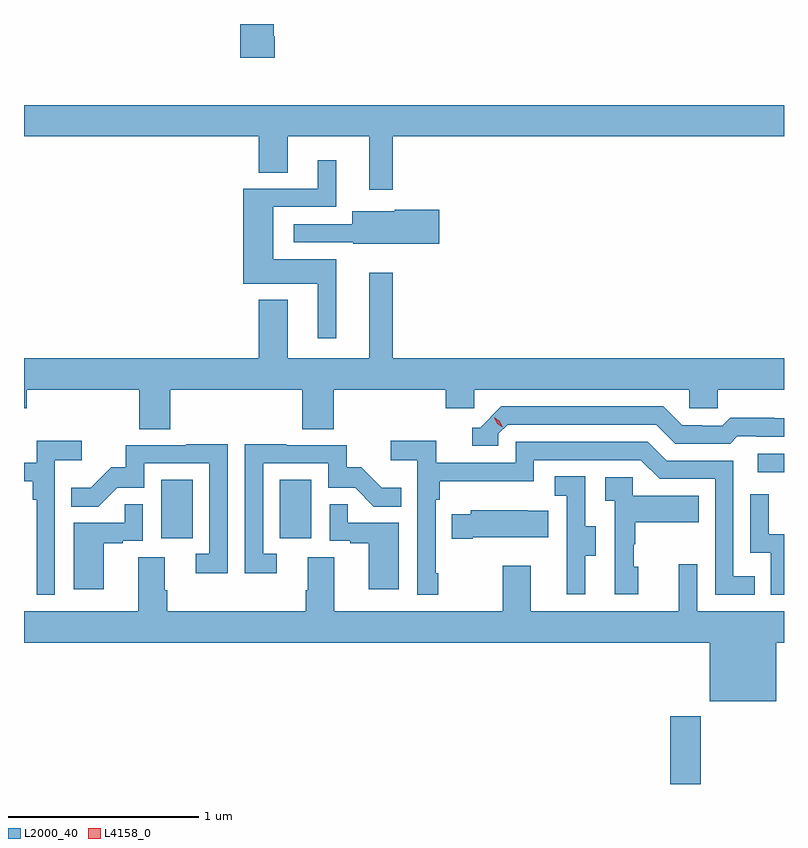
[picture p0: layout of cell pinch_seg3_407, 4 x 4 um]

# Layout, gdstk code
import gdstk
lib = gdstk.Library(unit=1e-6, precision=1e-09)
def R(c, l, rs):  # rectangles x0, y0, x1, y1
    for r in rs: c.add(gdstk.rectangle(r[:2], r[2:], *l))
def P(c, l, *ps):  # polygons
    for p in ps: c.add(gdstk.Polygon(p, *l))
L2000_40 = (2000, 40)
L4158_0 = (4158, 0)

pinch_seg3_407 = lib.new_cell('pinch_seg3_407')
R(pinch_seg3_407, L2000_40, [(929.723,696.176,929.883,696.532), (927.044,697.47,927.208,697.777), (927.668,697.47,927.832,697.777), (930.183,697.818,930.321,697.914)])
P(pinch_seg3_407, L2000_40, [(927.641,700.111),(927.636,700.111),(927.636,700.176),(927.458,700.176),(927.458,699.999),(927.641,699.999)],
  [(928.261,699.584),(930.321,699.584),(930.321,699.748),(926.321,699.748),(926.321,699.584),(927.557,699.584),(927.557,699.394),(927.709,699.394),(927.709,699.584),(928.139,699.584),(928.139,699.303),(928.261,699.303)],
  [(927.964,698.938),(927.634,698.938),(927.634,699.213),(927.964,699.213),(927.964,699.46),(927.866,699.46),(927.866,699.309),(927.476,699.309),(927.476,698.81),(927.866,698.81),(927.866,698.523),(927.964,698.523)],
  [(928.507,699.198),(928.272,699.198),(928.272,699.19),(928.049,699.19),(928.049,699.123),(927.741,699.123),(927.741,699.027),(928.053,699.027),(928.053,699.02),(928.507,699.02)],
  [(927.092,698.252),(927.785,698.252),(927.785,698.044),(927.95,698.044),(927.95,698.252),(928.541,698.252),(928.541,698.154),(928.692,698.154),(928.692,698.252),(929.823,698.252),(929.823,698.154),(929.973,698.154),(929.973,698.252),(930.321,698.252),(930.321,698.416),(928.261,698.416),(928.261,698.866),(928.139,698.866),(928.139,698.416),(927.709,698.416),(927.709,698.725),(927.557,698.725),(927.557,698.416),(926.321,698.416),(926.321,698.154),(926.336,698.154),(926.336,698.252),(926.927,698.252),(926.927,698.044),(927.092,698.044)],
  [(928.818,698.019),(928.866,698.067),(929.649,698.067),(929.748,697.968),(930.037,697.968),(930.076,698.007),(930.175,698.007),(930.175,698.004),(930.321,698.004),(930.321,698.101),(930.27,698.101),(930.27,698.104),(930.037,698.104),(929.995,698.061),(929.892,698.061),(929.892,698.064),(929.785,698.064),(929.686,698.163),(928.833,698.163),(928.722,698.052),(928.679,698.052),(928.679,697.956),(928.818,697.956)],
  [(926.484,697.88),(926.626,697.88),(926.626,697.982),(926.387,697.982),(926.387,697.866),(926.321,697.866),(926.321,697.769),(926.368,697.769),(926.368,697.673),(926.388,697.673),(926.388,697.173),(926.484,697.173)],
  [(928.501,697.285),(928.488,697.285),(928.488,697.673),(928.508,697.673),(928.508,697.769),(929.004,697.769),(929.004,697.881),(929.568,697.881),(929.667,697.782),(929.958,697.782),(929.958,697.173),(930.167,697.173),(930.167,697.269),(930.054,697.269),(930.054,697.878),(929.704,697.878),(929.605,697.977),(928.908,697.977),(928.908,697.866),(928.49,697.866),(928.49,697.982),(928.251,697.982),(928.251,697.88),(928.392,697.88),(928.392,697.173),(928.501,697.173)],
  [(927.652,697.389),(927.579,697.389),(927.579,697.863),(927.921,697.863),(927.921,697.734),(928.065,697.734),(928.163,697.636),(928.307,697.636),(928.307,697.735),(928.203,697.735),(928.096,697.842),(928.02,697.842),(928.02,697.959),(927.701,697.959),(927.701,697.964),(927.483,697.964),(927.483,697.284),(927.652,697.284)],
  [(927.393,697.964),(927.175,697.964),(927.175,697.959),(926.857,697.959),(926.857,697.842),(926.78,697.842),(926.673,697.735),(926.569,697.735),(926.569,697.636),(926.713,697.636),(926.811,697.734),(926.955,697.734),(926.955,697.863),(927.297,697.863),(927.297,697.389),(927.225,697.389),(927.225,697.284),(927.393,697.284)],
  [(929.275,697.378),(929.329,697.378),(929.329,697.533),(929.274,697.533),(929.274,697.796),(929.115,697.796),(929.115,697.693),(929.178,697.693),(929.178,697.389),(929.177,697.389),(929.177,697.176),(929.275,697.176)],
  [(929.554,697.32),(929.529,697.32),(929.529,697.439),(929.539,697.439),(929.539,697.553),(929.873,697.553),(929.873,697.693),(929.526,697.693),(929.526,697.791),(929.379,697.791),(929.379,697.667),(929.43,697.667),(929.43,697.176),(929.554,697.176)],
  [(930.321,697.49),(930.24,697.49),(930.24,697.702),(930.144,697.702),(930.144,697.392),(930.252,697.392),(930.252,697.173),(930.321,697.173)],
  [(928.294,697.551),(928.025,697.551),(928.025,697.649),(927.93,697.649),(927.93,697.455),(928.037,697.455),(928.037,697.443),(928.136,697.443),(928.136,697.2),(928.294,697.2)],
  [(926.74,697.443),(926.84,697.443),(926.84,697.455),(926.946,697.455),(926.946,697.649),(926.851,697.649),(926.851,697.551),(926.582,697.551),(926.582,697.2),(926.74,697.2)],
  [(928.684,697.475),(929.081,697.475),(929.081,697.615),(928.973,697.615),(928.973,697.618),(928.671,697.618),(928.671,697.597),(928.573,697.597),(928.573,697.468),(928.684,697.468)],
  [(930.28,696.92),(930.321,696.92),(930.321,697.084),(929.865,697.084),(929.865,697.333),(929.768,697.333),(929.768,697.084),(928.987,697.084),(928.987,697.324),(928.84,697.324),(928.84,697.084),(927.955,697.084),(927.955,697.37),(927.815,697.37),(927.815,697.196),(927.803,697.196),(927.803,697.084),(927.074,697.084),(927.074,697.196),(927.061,697.196),(927.061,697.37),(926.921,697.37),(926.921,697.084),(926.321,697.084),(926.321,696.92),(929.93,696.92),(929.93,696.611),(930.28,696.611)])
P(pinch_seg3_407, L4158_0, [(928.842,698.053),(928.811,698.073),(928.796,698.106),(928.796,698.106),(928.796,698.106),(928.826,698.086),(928.842,698.053),(928.842,698.053)])

lib.write_gds('pinch_seg3_407.gds')
